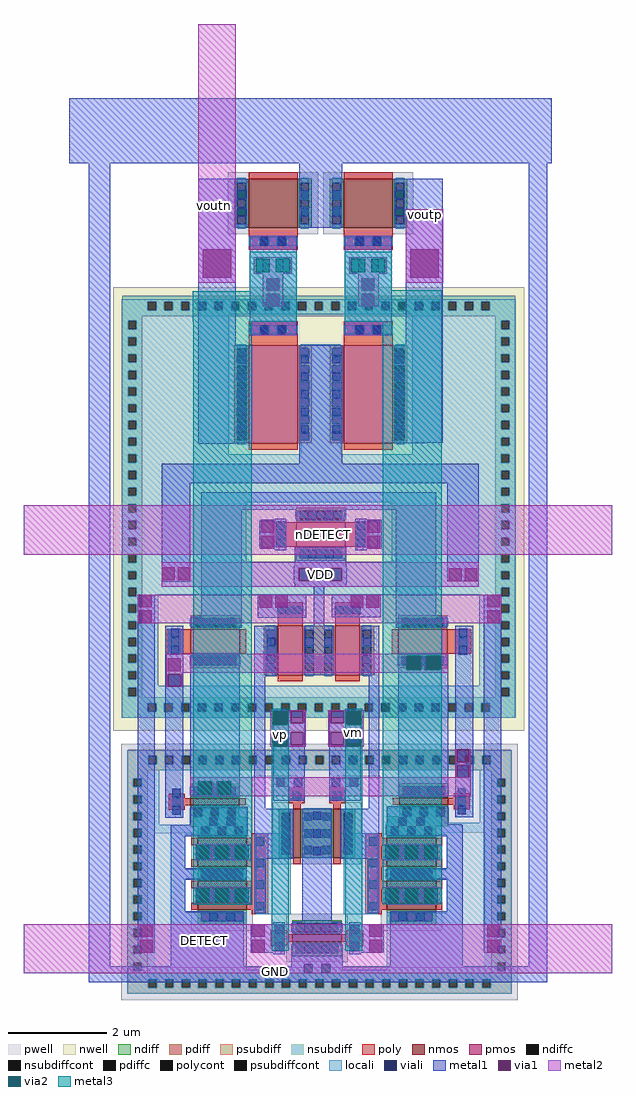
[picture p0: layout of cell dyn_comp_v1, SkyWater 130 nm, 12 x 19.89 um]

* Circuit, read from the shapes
.subckt dyn_comp_v1 nDETECT VDD DETECT vm vp GND
XM1 sky130_fd_pr__nfet_01v8_9ZWGZ9_6/D sky130_fd_pr__nfet_01v8_9ZWGZ9_3/D GND GND sky130_fd_pr__nfet_01v8 w=1 l=0.15
XM2 sky130_fd_pr__nfet_01v8_9ZWGZ9_6/D sky130_fd_pr__pfet_01v8_KDZMJM_1/D GND GND sky130_fd_pr__nfet_01v8 w=1 l=0.15 m=4
XM3 GND sky130_fd_pr__nfet_01v8_9ZWGZ9_6/D voutn GND sky130_fd_pr__nfet_01v8 w=1 l=1
XM4 sky130_fd_pr__nfet_01v8_9ZWGZ9_2/D DETECT GND GND sky130_fd_pr__nfet_01v8 w=1 l=0.15
XM5 sky130_fd_pr__nfet_01v8_9ZWGZ9_2/D vp sky130_fd_pr__pfet_01v8_KDZMJM_1/D GND sky130_fd_pr__nfet_01v8 w=1 l=0.15
XM6 sky130_fd_pr__nfet_01v8_9ZWGZ9_1/D vm sky130_fd_pr__nfet_01v8_9ZWGZ9_2/D GND sky130_fd_pr__nfet_01v8 w=1 l=0.15
XM7 voutp sky130_fd_pr__nfet_01v8_9ZWGZ9_3/D GND GND sky130_fd_pr__nfet_01v8 w=1 l=1
XM8 sky130_fd_pr__nfet_01v8_9ZWGZ9_3/D sky130_fd_pr__nfet_01v8_9ZWGZ9_1/D GND GND sky130_fd_pr__nfet_01v8 w=1 l=0.15 m=4
XM9 sky130_fd_pr__nfet_01v8_9ZWGZ9_3/D sky130_fd_pr__nfet_01v8_9ZWGZ9_6/D GND GND sky130_fd_pr__nfet_01v8 w=1 l=0.15
XM10 sky130_fd_pr__pfet_01v8_KDZMJM_2/D sky130_fd_pr__nfet_01v8_9ZWGZ9_3/D sky130_fd_pr__nfet_01v8_9ZWGZ9_6/D VDD sky130_fd_pr__pfet_01v8 w=1 l=0.5
XM11 VDD sky130_fd_pr__nfet_01v8_9ZWGZ9_6/D voutn VDD sky130_fd_pr__pfet_01v8 w=2 l=1
XM12 VDD DETECT sky130_fd_pr__pfet_01v8_KDZMJM_1/D VDD sky130_fd_pr__pfet_01v8 w=1 l=0.5
XM13 sky130_fd_pr__pfet_01v8_KDZMJM_2/D nDETECT VDD VDD sky130_fd_pr__pfet_01v8 w=1 l=0.5
XM14 sky130_fd_pr__nfet_01v8_9ZWGZ9_1/D DETECT VDD VDD sky130_fd_pr__pfet_01v8 w=1 l=0.5
XM15 voutp sky130_fd_pr__nfet_01v8_9ZWGZ9_3/D VDD VDD sky130_fd_pr__pfet_01v8 w=2 l=1
XM16 sky130_fd_pr__pfet_01v8_KDZMJM_2/D sky130_fd_pr__nfet_01v8_9ZWGZ9_6/D sky130_fd_pr__nfet_01v8_9ZWGZ9_3/D VDD sky130_fd_pr__pfet_01v8 w=1 l=0.5
.ends

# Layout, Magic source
magic
tech sky130A
magscale 1 2
<< nwell >>
rect 6 857 1680 2664
<< pwell >>
rect 38 670 1654 804
rect 38 438 575 670
rect 38 -107 172 438
rect 757 420 917 670
rect 1095 452 1654 670
rect 755 312 917 420
rect 1103 440 1654 452
rect 1103 416 1347 440
rect 1520 -107 1654 440
rect 38 -241 1654 -107
<< ndiff >>
rect 815 534 861 538
rect 319 464 549 506
rect 783 394 891 534
rect 1121 498 1171 508
rect 1121 478 1371 498
rect 1129 466 1371 478
rect 1129 442 1321 466
rect 781 338 891 394
<< pdiff >>
rect 625 1201 649 1251
rect 783 1083 905 1283
<< psubdiff >>
rect 64 754 1628 778
rect 64 720 149 754
rect 183 720 217 754
rect 251 720 285 754
rect 319 720 353 754
rect 387 720 421 754
rect 455 720 489 754
rect 523 720 557 754
rect 591 720 625 754
rect 659 720 693 754
rect 727 720 761 754
rect 795 720 829 754
rect 863 720 897 754
rect 931 720 965 754
rect 999 720 1033 754
rect 1067 720 1101 754
rect 1135 720 1169 754
rect 1203 720 1237 754
rect 1271 720 1305 754
rect 1339 720 1373 754
rect 1407 720 1441 754
rect 1475 720 1509 754
rect 1543 720 1628 754
rect 64 696 1628 720
rect 64 661 146 696
rect 64 627 88 661
rect 122 627 146 661
rect 64 593 146 627
rect 1546 661 1628 696
rect 1546 627 1570 661
rect 1604 627 1628 661
rect 64 559 88 593
rect 122 559 146 593
rect 64 525 146 559
rect 1546 593 1628 627
rect 1546 559 1570 593
rect 1604 559 1628 593
rect 64 491 88 525
rect 122 491 146 525
rect 64 457 146 491
rect 64 423 88 457
rect 122 423 146 457
rect 64 389 146 423
rect 64 355 88 389
rect 122 355 146 389
rect 64 321 146 355
rect 64 287 88 321
rect 122 287 146 321
rect 64 253 146 287
rect 64 219 88 253
rect 122 219 146 253
rect 64 185 146 219
rect 64 151 88 185
rect 122 151 146 185
rect 64 117 146 151
rect 64 83 88 117
rect 122 83 146 117
rect 1546 525 1628 559
rect 1546 491 1570 525
rect 1604 491 1628 525
rect 1546 457 1628 491
rect 1546 423 1570 457
rect 1604 423 1628 457
rect 1546 389 1628 423
rect 1546 355 1570 389
rect 1604 355 1628 389
rect 1546 321 1628 355
rect 1546 287 1570 321
rect 1604 287 1628 321
rect 1546 253 1628 287
rect 1546 219 1570 253
rect 1604 219 1628 253
rect 1546 185 1628 219
rect 1546 151 1570 185
rect 1604 151 1628 185
rect 1546 117 1628 151
rect 64 49 146 83
rect 64 15 88 49
rect 122 15 146 49
rect 64 -19 146 15
rect 64 -53 88 -19
rect 122 -53 146 -19
rect 64 -87 146 -53
rect 64 -121 88 -87
rect 122 -121 146 -87
rect 64 -133 146 -121
rect 1546 83 1570 117
rect 1604 83 1628 117
rect 1546 49 1628 83
rect 1546 15 1570 49
rect 1604 15 1628 49
rect 1546 -19 1628 15
rect 1546 -53 1570 -19
rect 1604 -53 1628 -19
rect 1546 -87 1628 -53
rect 1546 -121 1570 -87
rect 1604 -121 1628 -87
rect 1546 -133 1628 -121
rect 64 -157 1628 -133
rect 64 -191 149 -157
rect 183 -191 217 -157
rect 251 -191 285 -157
rect 319 -191 353 -157
rect 387 -191 421 -157
rect 455 -191 489 -157
rect 523 -191 557 -157
rect 591 -191 625 -157
rect 659 -191 693 -157
rect 727 -191 761 -157
rect 795 -191 829 -157
rect 863 -191 897 -157
rect 931 -191 965 -157
rect 999 -191 1033 -157
rect 1067 -191 1101 -157
rect 1135 -191 1169 -157
rect 1203 -191 1237 -157
rect 1271 -191 1305 -157
rect 1339 -191 1373 -157
rect 1407 -191 1441 -157
rect 1475 -191 1509 -157
rect 1543 -191 1628 -157
rect 64 -215 1628 -191
<< nsubdiff >>
rect 42 2604 1644 2628
rect 42 2570 146 2604
rect 180 2570 214 2604
rect 248 2570 282 2604
rect 316 2570 350 2604
rect 384 2570 418 2604
rect 452 2570 486 2604
rect 520 2570 554 2604
rect 588 2570 622 2604
rect 656 2570 690 2604
rect 724 2570 758 2604
rect 792 2570 826 2604
rect 860 2570 894 2604
rect 928 2570 962 2604
rect 996 2570 1030 2604
rect 1064 2570 1098 2604
rect 1132 2570 1166 2604
rect 1200 2570 1234 2604
rect 1268 2570 1302 2604
rect 1336 2570 1370 2604
rect 1404 2570 1438 2604
rect 1472 2570 1506 2604
rect 1540 2570 1644 2604
rect 42 2546 1644 2570
rect 42 2527 124 2546
rect 42 2493 66 2527
rect 100 2493 124 2527
rect 42 2459 124 2493
rect 42 2425 66 2459
rect 100 2425 124 2459
rect 42 2391 124 2425
rect 42 2357 66 2391
rect 100 2357 124 2391
rect 42 2323 124 2357
rect 42 2289 66 2323
rect 100 2289 124 2323
rect 42 2255 124 2289
rect 42 2221 66 2255
rect 100 2221 124 2255
rect 42 2187 124 2221
rect 42 2153 66 2187
rect 100 2153 124 2187
rect 42 2119 124 2153
rect 42 2085 66 2119
rect 100 2085 124 2119
rect 42 2051 124 2085
rect 42 2017 66 2051
rect 100 2017 124 2051
rect 42 1983 124 2017
rect 42 1949 66 1983
rect 100 1949 124 1983
rect 42 1915 124 1949
rect 42 1881 66 1915
rect 100 1881 124 1915
rect 42 1847 124 1881
rect 42 1813 66 1847
rect 100 1813 124 1847
rect 42 1779 124 1813
rect 42 1745 66 1779
rect 100 1745 124 1779
rect 42 1711 124 1745
rect 42 1677 66 1711
rect 100 1677 124 1711
rect 42 1643 124 1677
rect 42 1609 66 1643
rect 100 1609 124 1643
rect 42 1575 124 1609
rect 42 1541 66 1575
rect 100 1541 124 1575
rect 42 1507 124 1541
rect 42 1473 66 1507
rect 100 1473 124 1507
rect 42 1439 124 1473
rect 42 1405 66 1439
rect 100 1405 124 1439
rect 42 1371 124 1405
rect 42 1337 66 1371
rect 100 1337 124 1371
rect 42 1303 124 1337
rect 42 1269 66 1303
rect 100 1269 124 1303
rect 1562 2527 1644 2546
rect 1562 2493 1586 2527
rect 1620 2493 1644 2527
rect 1562 2459 1644 2493
rect 1562 2425 1586 2459
rect 1620 2425 1644 2459
rect 1562 2391 1644 2425
rect 1562 2357 1586 2391
rect 1620 2357 1644 2391
rect 1562 2323 1644 2357
rect 1562 2289 1586 2323
rect 1620 2289 1644 2323
rect 1562 2255 1644 2289
rect 1562 2221 1586 2255
rect 1620 2221 1644 2255
rect 1562 2187 1644 2221
rect 1562 2153 1586 2187
rect 1620 2153 1644 2187
rect 1562 2119 1644 2153
rect 1562 2085 1586 2119
rect 1620 2085 1644 2119
rect 1562 2051 1644 2085
rect 1562 2017 1586 2051
rect 1620 2017 1644 2051
rect 1562 1983 1644 2017
rect 1562 1949 1586 1983
rect 1620 1949 1644 1983
rect 1562 1915 1644 1949
rect 1562 1881 1586 1915
rect 1620 1881 1644 1915
rect 1562 1847 1644 1881
rect 1562 1813 1586 1847
rect 1620 1813 1644 1847
rect 1562 1779 1644 1813
rect 1562 1745 1586 1779
rect 1620 1745 1644 1779
rect 1562 1711 1644 1745
rect 1562 1677 1586 1711
rect 1620 1677 1644 1711
rect 1562 1643 1644 1677
rect 1562 1609 1586 1643
rect 1620 1609 1644 1643
rect 1562 1575 1644 1609
rect 1562 1541 1586 1575
rect 1620 1541 1644 1575
rect 1562 1507 1644 1541
rect 1562 1473 1586 1507
rect 1620 1473 1644 1507
rect 1562 1439 1644 1473
rect 1562 1405 1586 1439
rect 1620 1405 1644 1439
rect 1562 1371 1644 1405
rect 1562 1337 1586 1371
rect 1620 1337 1644 1371
rect 1562 1303 1644 1337
rect 42 1235 124 1269
rect 42 1201 66 1235
rect 100 1201 124 1235
rect 42 1167 124 1201
rect 42 1133 66 1167
rect 100 1133 124 1167
rect 42 1099 124 1133
rect 42 1065 66 1099
rect 100 1065 124 1099
rect 1562 1269 1586 1303
rect 1620 1269 1644 1303
rect 1562 1235 1644 1269
rect 1562 1201 1586 1235
rect 1620 1201 1644 1235
rect 1562 1167 1644 1201
rect 1562 1133 1586 1167
rect 1620 1133 1644 1167
rect 1562 1099 1644 1133
rect 42 1031 124 1065
rect 42 997 66 1031
rect 100 997 124 1031
rect 42 992 124 997
rect 1562 1065 1586 1099
rect 1620 1065 1644 1099
rect 1562 1031 1644 1065
rect 1562 997 1586 1031
rect 1620 997 1644 1031
rect 1562 992 1644 997
rect 42 968 1644 992
rect 42 934 146 968
rect 180 934 214 968
rect 248 934 282 968
rect 316 934 350 968
rect 384 934 418 968
rect 452 934 486 968
rect 520 934 554 968
rect 588 934 622 968
rect 656 934 690 968
rect 724 934 758 968
rect 792 934 826 968
rect 860 934 894 968
rect 928 934 962 968
rect 996 934 1030 968
rect 1064 934 1098 968
rect 1132 934 1166 968
rect 1200 934 1234 968
rect 1268 934 1302 968
rect 1336 934 1370 968
rect 1404 934 1438 968
rect 1472 934 1506 968
rect 1540 934 1644 968
rect 42 910 1644 934
<< psubdiffcont >>
rect 149 720 183 754
rect 217 720 251 754
rect 285 720 319 754
rect 353 720 387 754
rect 421 720 455 754
rect 489 720 523 754
rect 557 720 591 754
rect 625 720 659 754
rect 693 720 727 754
rect 761 720 795 754
rect 829 720 863 754
rect 897 720 931 754
rect 965 720 999 754
rect 1033 720 1067 754
rect 1101 720 1135 754
rect 1169 720 1203 754
rect 1237 720 1271 754
rect 1305 720 1339 754
rect 1373 720 1407 754
rect 1441 720 1475 754
rect 1509 720 1543 754
rect 88 627 122 661
rect 1570 627 1604 661
rect 88 559 122 593
rect 1570 559 1604 593
rect 88 491 122 525
rect 88 423 122 457
rect 88 355 122 389
rect 88 287 122 321
rect 88 219 122 253
rect 88 151 122 185
rect 88 83 122 117
rect 1570 491 1604 525
rect 1570 423 1604 457
rect 1570 355 1604 389
rect 1570 287 1604 321
rect 1570 219 1604 253
rect 1570 151 1604 185
rect 88 15 122 49
rect 88 -53 122 -19
rect 88 -121 122 -87
rect 1570 83 1604 117
rect 1570 15 1604 49
rect 1570 -53 1604 -19
rect 1570 -121 1604 -87
rect 149 -191 183 -157
rect 217 -191 251 -157
rect 285 -191 319 -157
rect 353 -191 387 -157
rect 421 -191 455 -157
rect 489 -191 523 -157
rect 557 -191 591 -157
rect 625 -191 659 -157
rect 693 -191 727 -157
rect 761 -191 795 -157
rect 829 -191 863 -157
rect 897 -191 931 -157
rect 965 -191 999 -157
rect 1033 -191 1067 -157
rect 1101 -191 1135 -157
rect 1169 -191 1203 -157
rect 1237 -191 1271 -157
rect 1305 -191 1339 -157
rect 1373 -191 1407 -157
rect 1441 -191 1475 -157
rect 1509 -191 1543 -157
<< nsubdiffcont >>
rect 146 2570 180 2604
rect 214 2570 248 2604
rect 282 2570 316 2604
rect 350 2570 384 2604
rect 418 2570 452 2604
rect 486 2570 520 2604
rect 554 2570 588 2604
rect 622 2570 656 2604
rect 690 2570 724 2604
rect 758 2570 792 2604
rect 826 2570 860 2604
rect 894 2570 928 2604
rect 962 2570 996 2604
rect 1030 2570 1064 2604
rect 1098 2570 1132 2604
rect 1166 2570 1200 2604
rect 1234 2570 1268 2604
rect 1302 2570 1336 2604
rect 1370 2570 1404 2604
rect 1438 2570 1472 2604
rect 1506 2570 1540 2604
rect 66 2493 100 2527
rect 66 2425 100 2459
rect 66 2357 100 2391
rect 66 2289 100 2323
rect 66 2221 100 2255
rect 66 2153 100 2187
rect 66 2085 100 2119
rect 66 2017 100 2051
rect 66 1949 100 1983
rect 66 1881 100 1915
rect 66 1813 100 1847
rect 66 1745 100 1779
rect 66 1677 100 1711
rect 66 1609 100 1643
rect 66 1541 100 1575
rect 66 1473 100 1507
rect 66 1405 100 1439
rect 66 1337 100 1371
rect 66 1269 100 1303
rect 1586 2493 1620 2527
rect 1586 2425 1620 2459
rect 1586 2357 1620 2391
rect 1586 2289 1620 2323
rect 1586 2221 1620 2255
rect 1586 2153 1620 2187
rect 1586 2085 1620 2119
rect 1586 2017 1620 2051
rect 1586 1949 1620 1983
rect 1586 1881 1620 1915
rect 1586 1813 1620 1847
rect 1586 1745 1620 1779
rect 1586 1677 1620 1711
rect 1586 1609 1620 1643
rect 1586 1541 1620 1575
rect 1586 1473 1620 1507
rect 1586 1405 1620 1439
rect 1586 1337 1620 1371
rect 66 1201 100 1235
rect 66 1133 100 1167
rect 66 1065 100 1099
rect 1586 1269 1620 1303
rect 1586 1201 1620 1235
rect 1586 1133 1620 1167
rect 66 997 100 1031
rect 1586 1065 1620 1099
rect 1586 997 1620 1031
rect 146 934 180 968
rect 214 934 248 968
rect 282 934 316 968
rect 350 934 384 968
rect 418 934 452 968
rect 486 934 520 968
rect 554 934 588 968
rect 622 934 656 968
rect 690 934 724 968
rect 758 934 792 968
rect 826 934 860 968
rect 894 934 928 968
rect 962 934 996 968
rect 1030 934 1064 968
rect 1098 934 1132 968
rect 1166 934 1200 968
rect 1234 934 1268 968
rect 1302 934 1336 968
rect 1370 934 1404 968
rect 1438 934 1472 968
rect 1506 934 1540 968
<< poly >>
rect 231 1167 281 1269
rect 231 534 291 600
rect 571 108 637 438
rect 1033 108 1099 438
<< locali >>
rect 41 2604 1645 2615
rect 41 2570 146 2604
rect 180 2570 214 2604
rect 248 2570 282 2604
rect 316 2570 350 2604
rect 384 2570 418 2604
rect 452 2570 486 2604
rect 520 2570 554 2604
rect 588 2570 622 2604
rect 656 2570 690 2604
rect 724 2570 758 2604
rect 792 2570 826 2604
rect 860 2570 894 2604
rect 928 2570 962 2604
rect 996 2570 1030 2604
rect 1064 2570 1098 2604
rect 1132 2570 1166 2604
rect 1200 2570 1234 2604
rect 1268 2570 1302 2604
rect 1336 2570 1370 2604
rect 1404 2570 1438 2604
rect 1472 2570 1506 2604
rect 1540 2570 1645 2604
rect 41 2553 1645 2570
rect 41 2527 477 2553
rect 41 2493 66 2527
rect 100 2493 477 2527
rect 41 2459 477 2493
rect 41 2425 66 2459
rect 100 2425 477 2459
rect 1225 2527 1645 2553
rect 1225 2493 1586 2527
rect 1620 2493 1645 2527
rect 1225 2459 1645 2493
rect 41 2391 477 2425
rect 41 2357 66 2391
rect 100 2357 477 2391
rect 41 2323 477 2357
rect 41 2289 66 2323
rect 100 2289 477 2323
rect 41 2255 477 2289
rect 41 2221 66 2255
rect 100 2221 477 2255
rect 41 2187 477 2221
rect 41 2153 66 2187
rect 100 2153 477 2187
rect 41 2119 477 2153
rect 41 2085 66 2119
rect 100 2085 477 2119
rect 41 2051 477 2085
rect 41 2017 66 2051
rect 100 2017 477 2051
rect 41 1983 477 2017
rect 769 1983 933 2431
rect 1225 2425 1586 2459
rect 1620 2425 1645 2459
rect 1225 2391 1645 2425
rect 1225 2357 1586 2391
rect 1620 2357 1645 2391
rect 1225 2323 1645 2357
rect 1225 2289 1586 2323
rect 1620 2289 1645 2323
rect 1225 2255 1645 2289
rect 1225 2221 1586 2255
rect 1620 2221 1645 2255
rect 1225 2187 1645 2221
rect 1225 2153 1586 2187
rect 1620 2153 1645 2187
rect 1225 2119 1645 2153
rect 1225 2085 1586 2119
rect 1620 2085 1645 2119
rect 1225 2051 1645 2085
rect 1225 2017 1586 2051
rect 1620 2017 1645 2051
rect 1225 1983 1645 2017
rect 41 1949 66 1983
rect 100 1949 1586 1983
rect 1620 1949 1645 1983
rect 41 1915 1645 1949
rect 41 1881 66 1915
rect 100 1881 1586 1915
rect 1620 1881 1645 1915
rect 41 1847 1645 1881
rect 41 1813 66 1847
rect 100 1813 1586 1847
rect 1620 1813 1645 1847
rect 41 1787 1645 1813
rect 41 1779 547 1787
rect 41 1745 66 1779
rect 100 1745 547 1779
rect 41 1711 547 1745
rect 41 1677 66 1711
rect 100 1677 547 1711
rect 1141 1779 1645 1787
rect 1141 1745 1586 1779
rect 1620 1745 1645 1779
rect 1141 1711 1645 1745
rect 41 1643 547 1677
rect 41 1609 66 1643
rect 100 1609 547 1643
rect 41 1575 547 1609
rect 600 1603 704 1709
rect 998 1603 1084 1709
rect 1141 1677 1586 1711
rect 1620 1677 1645 1711
rect 1141 1643 1645 1677
rect 1141 1609 1586 1643
rect 1620 1609 1645 1643
rect 41 1541 66 1575
rect 100 1545 547 1575
rect 745 1545 955 1603
rect 1141 1575 1645 1609
rect 1141 1545 1586 1575
rect 100 1541 1586 1545
rect 1620 1541 1645 1575
rect 41 1507 1645 1541
rect 41 1473 66 1507
rect 100 1473 1586 1507
rect 1620 1473 1645 1507
rect 41 1439 1645 1473
rect 41 1405 66 1439
rect 100 1411 1586 1439
rect 100 1405 189 1411
rect 41 1371 189 1405
rect 41 1337 66 1371
rect 100 1337 189 1371
rect 41 1303 189 1337
rect 41 1269 66 1303
rect 100 1269 189 1303
rect 1497 1405 1586 1411
rect 1620 1405 1645 1439
rect 1497 1371 1645 1405
rect 1497 1337 1586 1371
rect 1620 1337 1645 1371
rect 1497 1303 1645 1337
rect 625 1283 661 1287
rect 41 1235 189 1269
rect 41 1201 66 1235
rect 100 1201 189 1235
rect 41 1167 189 1201
rect 41 1133 66 1167
rect 100 1133 189 1167
rect 231 1166 281 1272
rect 41 1099 189 1133
rect 41 1065 66 1099
rect 100 1065 189 1099
rect 625 1117 665 1283
rect 1414 1166 1448 1272
rect 1497 1269 1586 1303
rect 1620 1269 1645 1303
rect 1497 1235 1645 1269
rect 1497 1201 1586 1235
rect 1620 1201 1645 1235
rect 1497 1167 1645 1201
rect 1497 1133 1586 1167
rect 1620 1133 1645 1167
rect 625 1079 659 1117
rect 1497 1099 1645 1133
rect 41 1039 189 1065
rect 1497 1065 1586 1099
rect 1620 1065 1645 1099
rect 1497 1039 1645 1065
rect 41 1031 1645 1039
rect 41 997 66 1031
rect 100 997 1586 1031
rect 1620 997 1645 1031
rect 41 968 1645 997
rect 41 934 146 968
rect 180 934 214 968
rect 248 934 282 968
rect 316 934 350 968
rect 384 934 418 968
rect 452 934 486 968
rect 520 934 554 968
rect 588 934 622 968
rect 656 934 690 968
rect 724 934 758 968
rect 792 934 826 968
rect 860 934 894 968
rect 928 934 962 968
rect 996 934 1030 968
rect 1064 934 1098 968
rect 1132 934 1166 968
rect 1200 934 1234 968
rect 1268 934 1302 968
rect 1336 934 1370 968
rect 1404 934 1438 968
rect 1472 934 1506 968
rect 1540 934 1645 968
rect 41 909 1645 934
rect 63 754 1629 777
rect 63 720 149 754
rect 183 720 217 754
rect 251 720 285 754
rect 319 720 353 754
rect 387 720 421 754
rect 455 720 489 754
rect 523 720 557 754
rect 591 720 625 754
rect 659 720 693 754
rect 727 720 761 754
rect 795 720 829 754
rect 863 720 897 754
rect 931 720 965 754
rect 999 720 1033 754
rect 1067 720 1101 754
rect 1135 720 1169 754
rect 1203 720 1237 754
rect 1271 720 1305 754
rect 1339 720 1373 754
rect 1407 720 1441 754
rect 1475 720 1509 754
rect 1543 720 1629 754
rect 63 696 1629 720
rect 63 661 193 696
rect 63 627 88 661
rect 122 627 193 661
rect 63 593 193 627
rect 63 559 88 593
rect 122 559 193 593
rect 63 525 193 559
rect 63 491 88 525
rect 122 491 193 525
rect 247 514 281 620
rect 340 602 498 628
rect 721 576 787 662
rect 885 576 951 662
rect 1499 661 1629 696
rect 1499 627 1570 661
rect 1604 627 1629 661
rect 334 506 353 514
rect 511 506 550 540
rect 63 474 193 491
rect 318 474 550 506
rect 63 463 550 474
rect 63 457 419 463
rect 63 423 88 457
rect 122 432 419 457
rect 511 432 549 463
rect 122 423 299 432
rect 63 389 299 423
rect 63 355 88 389
rect 122 355 299 389
rect 63 321 299 355
rect 348 341 550 381
rect 63 287 88 321
rect 122 292 299 321
rect 122 287 549 292
rect 63 254 549 287
rect 63 253 299 254
rect 63 219 88 253
rect 122 219 299 253
rect 63 185 299 219
rect 63 151 88 185
rect 122 151 299 185
rect 348 165 550 205
rect 63 117 299 151
rect 63 83 88 117
rect 122 116 299 117
rect 122 83 547 116
rect 587 108 729 438
rect 781 337 893 541
rect 1120 532 1173 542
rect 1120 512 1356 532
rect 1409 516 1443 622
rect 1499 593 1629 627
rect 1499 559 1570 593
rect 1604 559 1629 593
rect 1499 525 1629 559
rect 1120 481 1372 512
rect 1499 491 1570 525
rect 1604 491 1629 525
rect 1499 481 1629 491
rect 1120 457 1629 481
rect 1120 442 1570 457
rect 945 108 1083 438
rect 1121 432 1173 442
rect 1321 432 1570 442
rect 1365 423 1570 432
rect 1604 423 1629 457
rect 1365 389 1629 423
rect 1120 341 1322 381
rect 1365 355 1570 389
rect 1604 355 1629 389
rect 1365 321 1629 355
rect 1365 292 1570 321
rect 1117 287 1570 292
rect 1604 287 1629 321
rect 1117 254 1629 287
rect 1365 253 1629 254
rect 1365 219 1570 253
rect 1604 219 1629 253
rect 1120 165 1322 205
rect 1365 185 1629 219
rect 1365 151 1570 185
rect 1604 151 1629 185
rect 1365 117 1629 151
rect 1365 114 1570 117
rect 63 80 547 83
rect 1136 83 1570 114
rect 1604 83 1629 117
rect 1136 80 1629 83
rect 63 49 550 80
rect 63 15 88 49
rect 122 15 550 49
rect 63 -19 550 15
rect 1120 49 1629 80
rect 1120 15 1570 49
rect 1604 15 1629 49
rect 63 -53 88 -19
rect 122 -53 550 -19
rect 63 -87 550 -53
rect 63 -121 88 -87
rect 122 -118 550 -87
rect 732 -96 940 -16
rect 732 -118 783 -96
rect 122 -121 783 -118
rect 63 -130 783 -121
rect 817 -130 855 -96
rect 889 -118 940 -96
rect 1120 -19 1629 15
rect 1120 -53 1570 -19
rect 1604 -53 1629 -19
rect 1120 -87 1629 -53
rect 1120 -118 1570 -87
rect 889 -121 1570 -118
rect 1604 -121 1629 -87
rect 889 -130 1629 -121
rect 63 -157 1629 -130
rect 63 -191 149 -157
rect 183 -191 217 -157
rect 251 -191 285 -157
rect 319 -191 353 -157
rect 387 -191 421 -157
rect 455 -191 489 -157
rect 523 -191 557 -157
rect 591 -191 625 -157
rect 659 -191 693 -157
rect 727 -191 761 -157
rect 795 -191 829 -157
rect 863 -191 897 -157
rect 931 -191 965 -157
rect 999 -191 1033 -157
rect 1067 -191 1101 -157
rect 1135 -191 1169 -157
rect 1203 -191 1237 -157
rect 1271 -191 1305 -157
rect 1339 -191 1373 -157
rect 1407 -191 1441 -157
rect 1475 -191 1509 -157
rect 1543 -191 1629 -157
rect 63 -216 1629 -191
<< viali >>
rect 783 -130 817 -96
rect 855 -130 889 -96
<< metal1 >>
rect -174 3169 1792 3433
rect -95 -104 -6 3169
rect 353 2025 505 3105
rect 763 2905 939 3169
rect 561 2467 753 2872
rect 949 2468 1141 2870
rect 763 1945 939 2427
rect 1197 2029 1349 3105
rect 1197 2027 1285 2029
rect 204 1865 1495 1945
rect 204 1464 319 1865
rect 365 1756 1321 1828
rect 105 -48 175 1411
rect 217 502 291 1284
rect 365 1275 529 1756
rect 606 1597 710 1715
rect 745 1529 955 1603
rect 992 1597 1096 1715
rect 741 1519 958 1529
rect 741 1467 762 1519
rect 814 1467 885 1519
rect 937 1467 958 1519
rect 741 1457 958 1467
rect 745 1443 955 1457
rect 595 1317 792 1410
rect 823 1283 865 1443
rect 896 1319 1095 1410
rect 581 1251 625 1283
rect 581 1201 649 1251
rect 319 588 521 1163
rect 581 1141 625 1201
rect 581 1079 671 1141
rect 783 1083 905 1283
rect 1047 1251 1089 1283
rect 1157 1275 1321 1756
rect 1367 1466 1495 1865
rect 1021 1203 1089 1251
rect 319 474 553 546
rect 241 426 553 474
rect 581 538 625 1079
rect 657 938 787 939
rect 657 886 728 938
rect 780 886 787 938
rect 657 850 787 886
rect 657 798 728 850
rect 780 798 787 850
rect 657 570 787 798
rect 885 938 1015 939
rect 885 886 892 938
rect 944 886 1015 938
rect 885 850 1015 886
rect 885 798 892 850
rect 944 798 1015 850
rect 885 570 1015 798
rect 1047 538 1089 1203
rect 1167 1157 1371 1169
rect 1167 1105 1211 1157
rect 1263 1105 1275 1157
rect 1327 1105 1371 1157
rect 1167 587 1371 1105
rect 241 296 299 426
rect 581 334 739 538
rect 241 250 549 296
rect 241 120 299 250
rect 241 -104 537 120
rect 581 112 627 334
rect 775 60 897 538
rect 933 334 1089 538
rect 1121 532 1177 548
rect 1121 512 1363 532
rect 1121 476 1371 512
rect 1399 504 1473 1284
rect 1121 474 1423 476
rect 1117 432 1429 474
rect 1121 426 1429 432
rect 1043 112 1089 334
rect 1365 296 1429 426
rect 1121 250 1429 296
rect 1365 120 1429 250
rect 566 -22 704 44
rect 732 -96 940 -16
rect 969 -22 1107 44
rect 732 -104 783 -96
rect -95 -130 783 -104
rect 817 -130 855 -96
rect 889 -104 940 -96
rect 1135 -104 1429 120
rect 1515 -48 1587 1411
rect 1698 -104 1775 3169
rect 889 -130 1775 -104
rect -95 -168 1775 -130
<< via1 >>
rect 762 1467 814 1519
rect 885 1467 937 1519
rect 728 886 780 938
rect 728 798 780 850
rect 892 886 944 938
rect 892 798 944 850
rect 1211 1105 1263 1157
rect 1275 1105 1327 1157
<< metal2 >>
rect 353 2682 505 3736
rect 615 2585 699 2785
rect 1003 2585 1087 2785
rect 1197 2682 1351 2982
rect -360 1574 2040 1774
rect 203 1519 1495 1543
rect 203 1467 762 1519
rect 814 1467 885 1519
rect 937 1467 1495 1519
rect 203 1443 1495 1467
rect 121 1295 1587 1411
rect 222 1161 1371 1169
rect 222 1105 1202 1161
rect 1258 1157 1282 1161
rect 1263 1105 1275 1157
rect 1338 1105 1371 1161
rect 222 1093 1371 1105
rect 646 938 791 939
rect 646 936 728 938
rect 646 880 658 936
rect 714 886 728 936
rect 780 886 791 938
rect 714 880 791 886
rect 646 850 791 880
rect 646 848 728 850
rect 646 792 658 848
rect 714 798 728 848
rect 780 798 791 850
rect 714 792 791 798
rect 646 790 791 792
rect 881 938 1026 939
rect 881 886 892 938
rect 944 936 1026 938
rect 944 886 958 936
rect 881 880 958 886
rect 1014 880 1026 936
rect 881 850 1026 880
rect 881 798 892 850
rect 944 848 1026 850
rect 944 798 958 848
rect 881 792 958 798
rect 1014 792 1026 848
rect 881 790 1026 792
rect 319 590 1463 666
rect 347 213 543 221
rect 1127 213 1323 221
rect 347 147 543 153
rect 1127 147 1323 153
rect -360 -132 2040 68
<< via2 >>
rect 1202 1157 1258 1161
rect 1282 1157 1338 1161
rect 1202 1105 1211 1157
rect 1211 1105 1258 1157
rect 1282 1105 1327 1157
rect 1327 1105 1338 1157
rect 658 880 714 936
rect 658 792 714 848
rect 958 880 1014 936
rect 958 792 1014 848
<< metal3 >>
rect 561 2647 753 2807
rect 330 2523 753 2647
rect 949 2651 1141 2807
rect 949 2523 1344 2651
rect 331 147 571 2523
rect 1104 1161 1344 2523
rect 1104 1105 1202 1161
rect 1258 1105 1282 1161
rect 1338 1105 1344 1161
rect 651 936 721 945
rect 651 880 658 936
rect 714 880 721 936
rect 651 848 721 880
rect 651 792 658 848
rect 714 792 721 848
rect 651 -40 721 792
rect 951 936 1021 945
rect 951 880 958 936
rect 1014 880 1021 936
rect 951 848 1021 880
rect 951 792 958 848
rect 1014 792 1021 848
rect 951 -40 1021 792
rect 1104 149 1344 1105
use L1M1_MAG_7849107791410  L1M1_MAG_7849107791410_0
transform 1 0 710 0 1 438
box -29 -59 29 59
use L1M1_MAG_7849107791410  L1M1_MAG_7849107791410_1
transform 1 0 962 0 1 438
box -29 -59 29 59
use L1M1_MAG_7849107791413  L1M1_MAG_7849107791413_0
transform 1 0 950 0 1 645
box -65 -23 65 23
use L1M1_MAG_7849107791413  L1M1_MAG_7849107791413_1
transform 1 0 722 0 1 645
box -65 -23 65 23
use L1M1_MAG_7849107791413  L1M1_MAG_7849107791413_2
transform 1 0 419 0 1 611
box -65 -23 65 23
use L1M1_MAG_7849107791413  L1M1_MAG_7849107791413_3
transform 1 0 449 0 1 97
box -65 -23 65 23
use L1M1_MAG_7849107791413  L1M1_MAG_7849107791413_4
transform 1 0 449 0 1 273
box -65 -23 65 23
use L1M1_MAG_7849107791413  L1M1_MAG_7849107791413_5
transform -1 0 449 0 1 486
box -65 -23 65 23
use L1M1_MAG_7849107791413  L1M1_MAG_7849107791413_6
transform -1 0 1221 0 1 97
box -65 -23 65 23
use L1M1_MAG_7849107791413  L1M1_MAG_7849107791413_7
transform -1 0 1221 0 1 273
box -65 -23 65 23
use L1M1_MAG_7849107791413  L1M1_MAG_7849107791413_8
transform -1 0 1221 0 1 487
box -65 -23 65 23
use L1M1_MAG_7849107791413  L1M1_MAG_7849107791413_9
transform 1 0 1271 0 1 613
box -65 -23 65 23
use L1M1_MAG_7849107791424  L1M1_MAG_7849107791424_0
transform 1 0 836 0 1 438
box -29 -95 29 95
use L1M1_MAG_7849107791427  L1M1_MAG_7849107791427_0
transform 1 0 449 0 1 185
box -100 -26 100 26
use L1M1_MAG_7849107791427  L1M1_MAG_7849107791427_1
transform 1 0 449 0 1 361
box -100 -26 100 26
use L1M1_MAG_7849107791427  L1M1_MAG_7849107791427_2
transform -1 0 1221 0 1 185
box -100 -26 100 26
use L1M1_MAG_7849107791427  L1M1_MAG_7849107791427_3
transform -1 0 1221 0 1 361
box -100 -26 100 26
use M1M2_MAG_7849107791416  M1M2_MAG_7849107791416_0
transform 1 0 1431 0 1 1492
box -64 -26 64 26
use M1M2_MAG_7849107791416  M1M2_MAG_7849107791416_1
transform 1 0 1031 0 1 1384
box -64 -26 64 26
use M1M2_MAG_7849107791416  M1M2_MAG_7849107791416_2
transform 1 0 659 0 1 1384
box -64 -26 64 26
use M1M2_MAG_7849107791419  M1M2_MAG_7849107791419_0
transform 0 -1 262 1 0 1496
box -32 -58 32 58
use M1M2_MAG_7849107791419  M1M2_MAG_7849107791419_1
transform 1 0 635 0 1 1656
box -32 -58 32 58
use M1M2_MAG_7849107791419  M1M2_MAG_7849107791419_2
transform 1 0 1067 0 1 1656
box -32 -58 32 58
use M1M2_MAG_7849107791419  M1M2_MAG_7849107791419_3
transform 1 0 1555 0 1 1353
box -32 -58 32 58
use M1M2_MAG_7849107791419  M1M2_MAG_7849107791419_4
transform 1 0 137 0 1 1353
box -32 -58 32 58
use M1M2_MAG_7849107791419  M1M2_MAG_7849107791419_5
transform 1 0 1555 0 1 10
box -32 -58 32 58
use M1M2_MAG_7849107791419  M1M2_MAG_7849107791419_6
transform 1 0 140 0 1 10
box -32 -58 32 58
use M1M2_MAG_7849107791419  M1M2_MAG_7849107791419_7
transform 1 0 1075 0 1 10
box -32 -58 32 58
use M1M2_MAG_7849107791419  M1M2_MAG_7849107791419_8
transform 1 0 597 0 1 10
box -32 -58 32 58
use M1M2_MAG_7849107791419  M1M2_MAG_7849107791419_9
transform 1 0 1431 0 1 722
box -32 -58 32 58
use M1M2_MAG_7849107791419  M1M2_MAG_7849107791419_10
transform 1 0 1044 0 1 2643
box -32 -58 32 58
use M1M2_MAG_7849107791419  M1M2_MAG_7849107791419_11
transform 1 0 657 0 1 2643
box -32 -58 32 58
use M1M2_MAG_7849107791419  M1M2_MAG_7849107791419_12
transform 1 0 254 0 1 1093
box -32 -58 32 58
use M1M2_MAG_7849107791423  M1M2_MAG_7849107791423_0
transform 1 0 1274 0 1 2761
box -64 -58 64 58
use M1M2_MAG_7849107791423  M1M2_MAG_7849107791423_1
transform 1 0 428 0 1 2761
box -64 -58 64 58
use M1M2_MAG_7849107791426  M1M2_MAG_7849107791426_0
transform 1 0 449 0 1 185
box -117 -33 117 33
use M1M2_MAG_7849107791426  M1M2_MAG_7849107791426_1
transform 1 0 449 0 1 361
box -117 -33 117 33
use M1M2_MAG_7849107791426  M1M2_MAG_7849107791426_2
transform -1 0 1221 0 1 185
box -117 -33 117 33
use M1M2_MAG_7849107791426  M1M2_MAG_7849107791426_3
transform -1 0 1221 0 1 361
box -117 -33 117 33
use M1M2_MAG_7849107791428  M1M2_MAG_7849107791428_0
transform 1 0 419 0 1 623
box -77 -33 77 33
use M2M3_MAG_7849107791415  M2M3_MAG_7849107791415_0
transform 1 0 656 0 1 2752
box -77 -33 77 33
use M2M3_MAG_7849107791415  M2M3_MAG_7849107791415_1
transform 1 0 1044 0 1 2752
box -77 -33 77 33
use M2M3_MAG_7849107791415  M2M3_MAG_7849107791415_2
transform 1 0 419 0 1 623
box -77 -33 77 33
use M2M3_MAG_7849107791425  M2M3_MAG_7849107791425_0
transform 1 0 449 0 1 185
box -117 -33 117 33
use M2M3_MAG_7849107791425  M2M3_MAG_7849107791425_1
transform 1 0 449 0 1 361
box -117 -33 117 33
use M2M3_MAG_7849107791425  M2M3_MAG_7849107791425_2
transform -1 0 1221 0 1 185
box -117 -33 117 33
use M2M3_MAG_7849107791425  M2M3_MAG_7849107791425_3
transform -1 0 1221 0 1 361
box -117 -33 117 33
use sky130_fd_pr__nfet_01v8_9ZAZEB  sky130_fd_pr__nfet_01v8_9ZAZEB_0
transform 0 -1 836 1 0 11
box -99 -271 99 271
use sky130_fd_pr__nfet_01v8_9ZWGZ9  sky130_fd_pr__nfet_01v8_9ZWGZ9_0
transform 0 1 480 -1 0 405
box -99 -157 99 157
use sky130_fd_pr__nfet_01v8_9ZWGZ9  sky130_fd_pr__nfet_01v8_9ZWGZ9_1
transform -1 0 918 0 1 469
box -99 -157 99 157
use sky130_fd_pr__nfet_01v8_9ZWGZ9  sky130_fd_pr__nfet_01v8_9ZWGZ9_2
transform -1 0 754 0 1 469
box -99 -157 99 157
use sky130_fd_pr__nfet_01v8_9ZWGZ9  sky130_fd_pr__nfet_01v8_9ZWGZ9_3
transform 0 -1 1190 1 0 405
box -99 -157 99 157
use sky130_fd_pr__nfet_01v8_9ZWGZ9  sky130_fd_pr__nfet_01v8_9ZWGZ9_4
transform 0 1 480 1 0 317
box -99 -157 99 157
use sky130_fd_pr__nfet_01v8_9ZWGZ9  sky130_fd_pr__nfet_01v8_9ZWGZ9_5
transform 0 -1 1190 -1 0 317
box -99 -157 99 157
use sky130_fd_pr__nfet_01v8_9ZWGZ9  sky130_fd_pr__nfet_01v8_9ZWGZ9_6
transform 0 1 480 1 0 229
box -99 -157 99 157
use sky130_fd_pr__nfet_01v8_9ZWGZ9  sky130_fd_pr__nfet_01v8_9ZWGZ9_7
transform 0 -1 1190 1 0 229
box -99 -157 99 157
use sky130_fd_pr__nfet_01v8_9ZWGZ9  sky130_fd_pr__nfet_01v8_9ZWGZ9_8
transform 0 1 480 -1 0 141
box -99 -157 99 157
use sky130_fd_pr__nfet_01v8_9ZWGZ9  sky130_fd_pr__nfet_01v8_9ZWGZ9_9
transform 0 -1 1190 -1 0 141
box -99 -157 99 157
use sky130_fd_pr__nfet_01v8_ML4XRG  sky130_fd_pr__nfet_01v8_ML4XRG_0
transform 0 1 388 -1 0 567
box -99 -157 99 157
use sky130_fd_pr__nfet_01v8_ML4XRG  sky130_fd_pr__nfet_01v8_ML4XRG_1
transform 0 -1 1302 1 0 569
box -99 -157 99 157
use sky130_fd_pr__nfet_01v8_V52S8A  sky130_fd_pr__nfet_01v8_V52S8A_0
transform 1 0 1045 0 -1 2974
box -184 -157 184 157
use sky130_fd_pr__nfet_01v8_V52S8A  sky130_fd_pr__nfet_01v8_V52S8A_1
transform 1 0 657 0 -1 2974
box -184 -157 184 157
use sky130_fd_pr__pfet_01v8_D48SMA  sky130_fd_pr__pfet_01v8_D48SMA_0
transform 1 0 657 0 -1 2263
box -194 -264 194 298
use sky130_fd_pr__pfet_01v8_D48SMA  sky130_fd_pr__pfet_01v8_D48SMA_1
transform -1 0 1045 0 -1 2263
box -194 -264 194 298
use sky130_fd_pr__pfet_01v8_KDZMJM  sky130_fd_pr__pfet_01v8_KDZMJM_0
transform 0 -1 385 1 0 1219
box -144 -198 144 164
use sky130_fd_pr__pfet_01v8_KDZMJM  sky130_fd_pr__pfet_01v8_KDZMJM_1
transform 1 0 727 0 1 1219
box -144 -198 144 164
use sky130_fd_pr__pfet_01v8_KDZMJM  sky130_fd_pr__pfet_01v8_KDZMJM_2
transform 0 1 1303 -1 0 1219
box -144 -198 144 164
use sky130_fd_pr__pfet_01v8_KDZMJM  sky130_fd_pr__pfet_01v8_KDZMJM_3
transform 1 0 961 0 1 1219
box -144 -198 144 164
use sky130_fd_pr__pfet_01v8_U2XPXD  sky130_fd_pr__pfet_01v8_U2XPXD_0
transform 0 -1 851 1 0 1656
box -144 -200 144 200
<< labels >>
flabel metal1 s 418 2998 418 2998 0 FreeSans 626 90 0 0 voutn
flabel metal1 s 1280 2958 1280 2958 0 FreeSans 626 270 0 0 voutp
flabel metal1 s 660 -140 676 -112 0 FreeSans 126 0 0 0 GND
port 6 nsew
flabel metal2 s 74 1605 1653 1707 0 FreeSans 626 0 0 0 nDETECT
port 1 nsew
flabel metal2 s 203 1443 1495 1543 0 FreeSans 626 0 0 0 VDD
port 2 nsew
flabel metal2 s 165 -48 594 54 0 FreeSans 1250 0 0 0 DETECT
port 3 nsew
flabel metal3 s 960 808 1011 890 0 FreeSans 626 90 0 0 vm
port 4 nsew
flabel metal3 s 664 800 707 883 0 FreeSans 626 90 0 0 vp
port 5 nsew
<< end >>

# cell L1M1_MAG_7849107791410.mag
magic
tech sky130A
magscale 1 2
<< locali >>
rect -17 -19 17 19
<< viali >>
rect -17 19 17 53
rect -17 -53 17 -19
<< metal1 >>
rect -29 53 29 59
rect -29 19 -17 53
rect 17 19 29 53
rect -29 -19 29 19
rect -29 -53 -17 -19
rect 17 -53 29 -19
rect -29 -59 29 -53
<< end >>

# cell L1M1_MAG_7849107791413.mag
magic
tech sky130A
magscale 1 2
<< locali >>
rect -19 -17 19 17
<< viali >>
rect -53 -17 -19 17
rect 19 -17 53 17
<< metal1 >>
rect -65 17 65 23
rect -65 -17 -53 17
rect -19 -17 19 17
rect 53 -17 65 17
rect -65 -23 65 -17
<< end >>

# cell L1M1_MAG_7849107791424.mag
magic
tech sky130A
magscale 1 2
<< locali >>
rect -17 17 17 55
rect -17 -55 17 -17
<< viali >>
rect -17 55 17 89
rect -17 -17 17 17
rect -17 -89 17 -55
<< metal1 >>
rect -29 89 29 95
rect -29 55 -17 89
rect 17 55 29 89
rect -29 17 29 55
rect -29 -17 -17 17
rect 17 -17 29 17
rect -29 -55 29 -17
rect -29 -89 -17 -55
rect 17 -89 29 -55
rect -29 -95 29 -89
<< end >>

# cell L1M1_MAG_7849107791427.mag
magic
tech sky130A
magscale 1 2
<< locali >>
rect -100 17 100 20
rect -100 -17 -53 17
rect -19 -17 19 17
rect 53 -17 100 17
rect -100 -20 100 -17
<< viali >>
rect -53 -17 -19 17
rect 19 -17 53 17
<< metal1 >>
rect -100 17 100 26
rect -100 -17 -53 17
rect -19 -17 19 17
rect 53 -17 100 17
rect -100 -26 100 -17
<< end >>

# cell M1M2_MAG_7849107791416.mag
magic
tech sky130A
<< metal1 >>
rect -32 -13 -29 13
rect -3 -13 3 13
rect 29 -13 32 13
<< via1 >>
rect -29 -13 -3 13
rect 3 -13 29 13
<< metal2 >>
rect -32 -13 -29 13
rect -3 -13 3 13
rect 29 -13 32 13
<< end >>

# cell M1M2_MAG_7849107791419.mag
magic
tech sky130A
<< metal1 >>
rect -16 3 -13 29
rect 13 3 16 29
rect -16 -3 16 3
rect -16 -29 -13 -3
rect 13 -29 16 -3
<< via1 >>
rect -13 3 13 29
rect -13 -29 13 -3
<< metal2 >>
rect -16 3 -13 29
rect 13 3 16 29
rect -16 -3 16 3
rect -16 -29 -13 -3
rect 13 -29 16 -3
<< end >>

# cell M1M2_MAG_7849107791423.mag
magic
tech sky130A
<< metal1 >>
rect -32 -29 -29 29
rect 29 -29 32 29
<< via1 >>
rect -29 -29 29 29
<< metal2 >>
rect -32 -29 -29 29
rect 29 -29 32 29
<< end >>

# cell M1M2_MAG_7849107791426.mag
magic
tech sky130A
magscale 1 2
<< metal1 >>
rect -100 -26 -90 26
rect -38 -26 -26 26
rect 26 -26 38 26
rect 90 -26 100 26
<< via1 >>
rect -90 -26 -38 26
rect -26 -26 26 26
rect 38 -26 90 26
<< metal2 >>
rect -117 26 117 33
rect -117 -26 -90 26
rect -38 -26 -26 26
rect 26 -26 38 26
rect 90 -26 117 26
rect -117 -33 117 -26
<< end >>

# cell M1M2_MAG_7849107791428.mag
magic
tech sky130A
magscale 1 2
<< metal1 >>
rect -77 26 77 33
rect -77 -26 -58 26
rect -6 -26 6 26
rect 58 -26 77 26
rect -77 -33 77 -26
<< via1 >>
rect -58 -26 -6 26
rect 6 -26 58 26
<< metal2 >>
rect -77 26 77 33
rect -77 -26 -58 26
rect -6 -26 6 26
rect 58 -26 77 26
rect -77 -33 77 -26
<< end >>

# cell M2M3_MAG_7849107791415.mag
magic
tech sky130A
magscale 1 2
<< metal2 >>
rect -77 28 77 33
rect -77 -28 -68 28
rect -12 -28 12 28
rect 68 -28 77 28
rect -77 -33 77 -28
<< via2 >>
rect -68 -28 -12 28
rect 12 -28 68 28
<< metal3 >>
rect -77 28 77 33
rect -77 -28 -68 28
rect -12 -28 12 28
rect 68 -28 77 28
rect -77 -33 77 -28
<< end >>

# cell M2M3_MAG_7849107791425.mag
magic
tech sky130A
magscale 1 2
<< metal2 >>
rect -117 28 117 33
rect -117 -28 -108 28
rect -52 -28 -28 28
rect 28 -28 52 28
rect 108 -28 117 28
rect -117 -33 117 -28
<< via2 >>
rect -108 -28 -52 28
rect -28 -28 28 28
rect 52 -28 108 28
<< metal3 >>
rect -117 28 117 33
rect -117 -28 -108 28
rect -52 -28 -28 28
rect 28 -28 52 28
rect 108 -28 117 28
rect -117 -33 117 -28
<< end >>

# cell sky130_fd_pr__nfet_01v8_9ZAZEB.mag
magic
tech sky130A
magscale 1 2
<< pwell >>
rect -99 -126 99 126
<< nmos >>
rect -15 -100 15 100
<< ndiff >>
rect -73 85 -15 100
rect -73 51 -61 85
rect -27 51 -15 85
rect -73 17 -15 51
rect -73 -17 -61 17
rect -27 -17 -15 17
rect -73 -51 -15 -17
rect -73 -85 -61 -51
rect -27 -85 -15 -51
rect -73 -100 -15 -85
rect 15 85 73 100
rect 15 51 27 85
rect 61 51 73 85
rect 15 17 73 51
rect 15 -17 27 17
rect 61 -17 73 17
rect 15 -51 73 -17
rect 15 -85 27 -51
rect 61 -85 73 -51
rect 15 -100 73 -85
<< ndiffc >>
rect -61 51 -27 85
rect -61 -17 -27 17
rect -61 -85 -27 -51
rect 27 51 61 85
rect 27 -17 61 17
rect 27 -85 61 -51
<< poly >>
rect -33 172 33 188
rect -33 138 -17 172
rect 17 138 33 172
rect -33 122 33 138
rect -15 100 15 122
rect -15 -122 15 -100
rect -33 -138 33 -122
rect -33 -172 -17 -138
rect 17 -172 33 -138
rect -33 -188 33 -172
<< polycont >>
rect -17 138 17 172
rect -17 -172 17 -138
<< locali >>
rect -33 138 -17 172
rect 17 138 33 172
rect -61 85 -27 104
rect -61 17 -27 19
rect -61 -19 -27 -17
rect -61 -104 -27 -85
rect 27 85 61 104
rect 27 17 61 19
rect 27 -19 61 -17
rect 27 -104 61 -85
rect -33 -172 -17 -138
rect 17 -172 33 -138
<< viali >>
rect -61 51 -27 53
rect -61 19 -27 51
rect -61 -51 -27 -19
rect -61 -53 -27 -51
rect 27 51 61 53
rect 27 19 61 51
rect 27 -51 61 -19
rect 27 -53 61 -51
<< metal1 >>
rect -59 151 57 271
rect -29 132 29 151
rect -67 53 -21 100
rect -67 19 -61 53
rect -27 19 -21 53
rect -67 -19 -21 19
rect -67 -53 -61 -19
rect -27 -53 -21 -19
rect -67 -100 -21 -53
rect 21 53 67 100
rect 21 19 27 53
rect 61 19 67 53
rect 21 -19 67 19
rect 21 -53 27 -19
rect 61 -53 67 -19
rect 21 -100 67 -53
rect -29 -147 29 -132
rect -59 -271 57 -147
use L1M1_MAG_7849107791413  L1M1_MAG_7849107791413_0
transform 1 0 0 0 1 155
box -65 -23 65 23
use L1M1_MAG_7849107791413  L1M1_MAG_7849107791413_1
transform 1 0 0 0 1 -155
box -65 -23 65 23
<< labels >>
rlabel locali s 0 155 0 155 4 G
rlabel locali s 44 0 44 0 4 S
rlabel locali s -44 0 -44 0 4 D
<< end >>

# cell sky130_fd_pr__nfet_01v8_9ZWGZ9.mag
magic
tech sky130A
magscale 1 2
<< pwell >>
rect -99 -157 99 95
<< nmos >>
rect -15 -131 15 69
<< ndiff >>
rect -73 54 -15 69
rect -73 20 -61 54
rect -27 20 -15 54
rect -73 -14 -15 20
rect -73 -48 -61 -14
rect -27 -48 -15 -14
rect -73 -82 -15 -48
rect -73 -116 -61 -82
rect -27 -116 -15 -82
rect -73 -131 -15 -116
rect 15 54 73 69
rect 15 20 27 54
rect 61 20 73 54
rect 15 -14 73 20
rect 15 -48 27 -14
rect 61 -48 73 -14
rect 15 -82 73 -48
rect 15 -116 27 -82
rect 61 -116 73 -82
rect 15 -131 73 -116
<< ndiffc >>
rect -61 20 -27 54
rect -61 -48 -27 -14
rect -61 -116 -27 -82
rect 27 20 61 54
rect 27 -48 61 -14
rect 27 -116 61 -82
<< poly >>
rect -33 141 33 157
rect -33 107 -17 141
rect 17 107 33 141
rect -33 91 33 107
rect -15 69 15 91
rect -15 -157 15 -131
<< polycont >>
rect -17 107 17 141
<< locali >>
rect -33 107 -17 141
rect 17 107 33 141
rect -61 54 -27 70
rect -61 -14 -27 20
rect -61 -82 -27 -48
rect -61 -132 -27 -116
rect 25 54 63 70
rect 25 20 27 54
rect 61 20 63 54
rect 25 -14 63 20
rect 25 -48 27 -14
rect 61 -48 63 -14
rect 25 -82 63 -48
rect 25 -116 27 -82
rect 61 -116 63 -82
rect 25 -132 63 -116
<< metal1 >>
rect -29 101 29 147
<< labels >>
rlabel locali s 0 124 0 124 4 G
rlabel locali s 44 -31 44 -31 4 S
rlabel locali s -44 -31 -44 -31 4 D
<< end >>

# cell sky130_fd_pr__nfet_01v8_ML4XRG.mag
magic
tech sky130A
magscale 1 2
<< pwell >>
rect -99 -95 99 157
<< nmos >>
rect -15 -69 15 131
<< ndiff >>
rect -73 116 -15 131
rect -73 82 -61 116
rect -27 82 -15 116
rect -73 48 -15 82
rect -73 14 -61 48
rect -27 14 -15 48
rect -73 -20 -15 14
rect -73 -54 -61 -20
rect -27 -54 -15 -20
rect -73 -69 -15 -54
rect 15 116 73 131
rect 15 82 27 116
rect 61 82 73 116
rect 15 48 73 82
rect 15 14 27 48
rect 61 14 73 48
rect 15 -20 73 14
rect 15 -54 27 -20
rect 61 -54 73 -20
rect 15 -69 73 -54
<< ndiffc >>
rect -61 82 -27 116
rect -61 14 -27 48
rect -61 -54 -27 -20
rect 27 82 61 116
rect 27 14 61 48
rect 27 -54 61 -20
<< poly >>
rect -15 131 15 157
rect -15 -91 15 -69
rect -33 -107 33 -91
rect -33 -141 -17 -107
rect 17 -141 33 -107
rect -33 -157 33 -141
<< polycont >>
rect -17 -141 17 -107
<< locali >>
rect -61 116 -27 132
rect -61 48 -27 82
rect -61 -20 -27 14
rect -61 -70 -27 -54
rect 27 116 61 132
rect 27 48 61 82
rect 27 -20 61 14
rect 27 -70 61 -54
rect -33 -141 -17 -107
rect 17 -141 33 -107
<< metal1 >>
rect -67 -69 -21 131
rect 21 -69 67 131
use L1M1_MAG_7849107791429  L1M1_MAG_7849107791429_0
transform 1 0 36 0 1 -124
box -29 -23 29 23
use L1M1_MAG_7849107791429  L1M1_MAG_7849107791429_1
transform 1 0 -36 0 1 -124
box -29 -23 29 23
<< labels >>
rlabel locali s 0 -124 0 -124 4 G
rlabel locali s 44 31 44 31 4 S
rlabel locali s -44 31 -44 31 4 D
<< end >>

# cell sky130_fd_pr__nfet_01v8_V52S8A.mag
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
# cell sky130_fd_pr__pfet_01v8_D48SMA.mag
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
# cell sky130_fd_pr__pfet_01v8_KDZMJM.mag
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
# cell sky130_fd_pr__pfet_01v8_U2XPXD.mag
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
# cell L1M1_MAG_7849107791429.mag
magic
tech sky130A
magscale 1 2
<< viali >>
rect -17 -17 17 17
<< metal1 >>
rect -29 17 29 23
rect -29 -17 -17 17
rect 17 -17 29 17
rect -29 -23 29 -17
<< end >>
